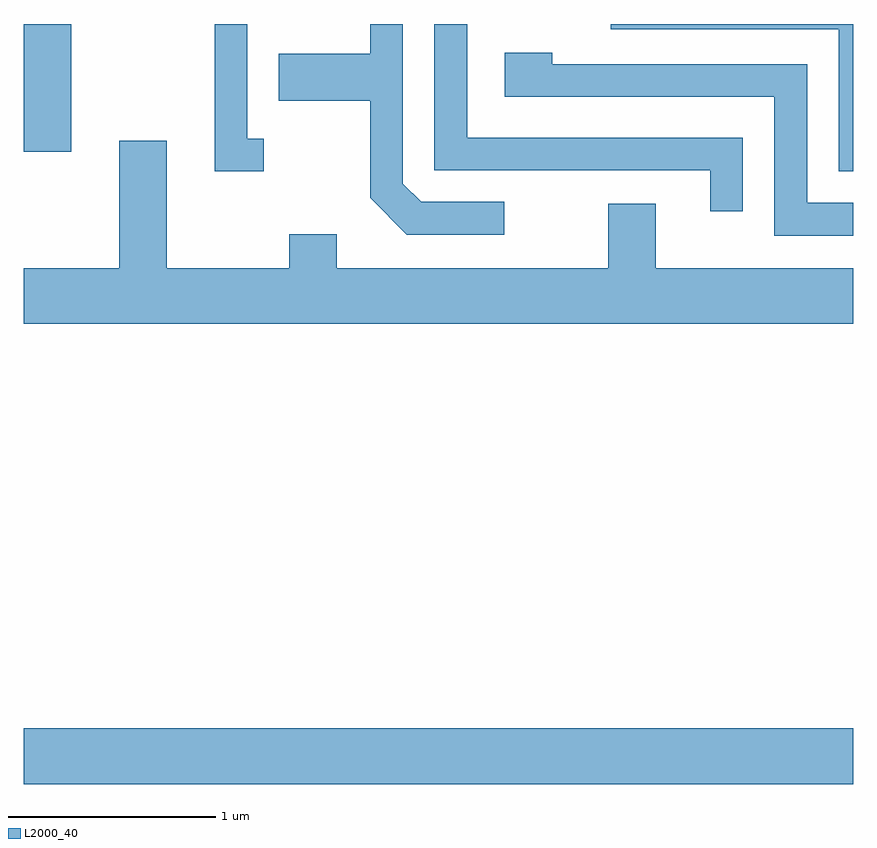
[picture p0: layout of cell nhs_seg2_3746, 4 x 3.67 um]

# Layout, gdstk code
import gdstk
lib = gdstk.Library(unit=1e-6, precision=1e-09)
def R(c, l, rs):  # rectangles x0, y0, x1, y1
    for r in rs: c.add(gdstk.rectangle(r[:2], r[2:], *l))
def P(c, l, *ps):  # polygons
    for p in ps: c.add(gdstk.Polygon(p, *l))
L2000_40 = (2000, 40)

nhs_seg2_3746 = lib.new_cell('nhs_seg2_3746')
R(nhs_seg2_3746, L2000_40, [(295.611,1006.136,299.611,1006.404), (295.611,1009.186,295.839,1009.802)])
P(nhs_seg2_3746, L2000_40, [(296.768,1009.249),(296.689,1009.249),(296.689,1009.802),(296.531,1009.802),(296.531,1009.091),(296.768,1009.091)],
  [(297.928,1008.944),(297.527,1008.944),(297.439,1009.032),(297.439,1009.802),(297.281,1009.802),(297.281,1009.659),(296.841,1009.659),(296.841,1009.431),(297.281,1009.431),(297.281,1008.964),(297.459,1008.786),(297.928,1008.786)],
  [(299.611,1009.802),(298.443,1009.802),(298.443,1009.776),(299.541,1009.776),(299.541,1009.091),(299.611,1009.091)],
  [(299.079,1009.254),(297.749,1009.254),(297.749,1009.802),(297.591,1009.802),(297.591,1009.096),(298.921,1009.096),(298.921,1008.898),(299.079,1008.898)],
  [(299.611,1008.939),(299.389,1008.939),(299.389,1009.609),(298.159,1009.609),(298.159,1009.664),(297.931,1009.664),(297.931,1009.451),(299.231,1009.451),(299.231,1008.781),(299.611,1008.781)],
  [(299.611,1008.624),(298.659,1008.624),(298.659,1008.934),(298.431,1008.934),(298.431,1008.624),(297.119,1008.624),(297.119,1008.789),(296.891,1008.789),(296.891,1008.624),(296.299,1008.624),(296.299,1009.239),(296.071,1009.239),(296.071,1008.624),(295.611,1008.624),(295.611,1008.356),(299.611,1008.356)])

lib.write_gds('nhs_seg2_3746.gds')
